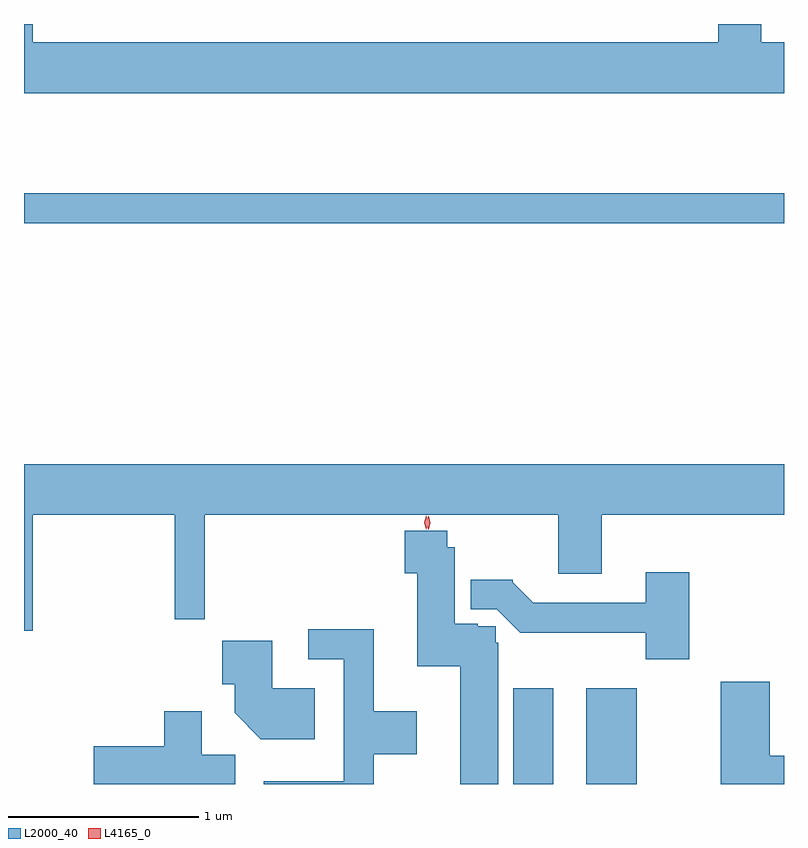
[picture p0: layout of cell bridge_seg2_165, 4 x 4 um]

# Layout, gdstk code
import gdstk
lib = gdstk.Library(unit=1e-6, precision=1e-09)
def R(c, l, rs):  # rectangles x0, y0, x1, y1
    for r in rs: c.add(gdstk.rectangle(r[:2], r[2:], *l))
def P(c, l, *ps):  # polygons
    for p in ps: c.add(gdstk.Polygon(p, *l))
L2000_40 = (2000, 40)
L4165_0 = (4165, 0)

bridge_seg2_165 = lib.new_cell('bridge_seg2_165')
R(bridge_seg2_165, L2000_40, [(817.274,1073.54,817.484,1074.044), (817.656,1073.54,817.924,1074.044), (814.698,1076.491,818.698,1076.649)])
P(bridge_seg2_165, L2000_40, [(818.698,1077.444),(818.579,1077.444),(818.579,1077.54),(818.351,1077.54),(818.351,1077.444),(814.744,1077.444),(814.744,1077.54),(814.698,1077.54),(814.698,1077.176),(818.698,1077.176)],
  [(814.744,1074.956),(815.491,1074.956),(815.491,1074.408),(815.649,1074.408),(815.649,1074.956),(816.607,1074.956),(816.607,1074.957),(817.022,1074.957),(817.022,1074.956),(817.511,1074.956),(817.511,1074.646),(817.739,1074.646),(817.739,1074.956),(818.698,1074.956),(818.698,1075.224),(814.698,1075.224),(814.698,1074.346),(814.744,1074.346)],
  [(817.193,1074.283),(817.18,1074.283),(817.18,1074.371),(817.085,1074.371),(817.085,1074.383),(816.965,1074.383),(816.965,1074.787),(816.926,1074.787),(816.926,1074.874),(816.703,1074.874),(816.703,1074.649),(816.768,1074.649),(816.768,1074.159),(816.993,1074.159),(816.993,1073.54),(817.193,1073.54)],
  [(818.199,1074.654),(817.971,1074.654),(817.971,1074.494),(817.377,1074.494),(817.27,1074.601),(817.27,1074.614),(817.05,1074.614),(817.05,1074.46),(817.185,1074.46),(817.309,1074.336),(817.971,1074.336),(817.971,1074.196),(818.199,1074.196)],
  [(816.539,1073.696),(816.764,1073.696),(816.764,1073.924),(816.539,1073.924),(816.539,1074.354),(816.193,1074.354),(816.193,1074.196),(816.381,1074.196),(816.381,1073.554),(815.961,1073.554),(815.961,1073.54),(816.539,1073.54)],
  [(816.229,1074.044),(816.004,1074.044),(816.004,1074.294),(815.741,1074.294),(815.741,1074.066),(815.806,1074.066),(815.806,1073.914),(815.944,1073.776),(816.229,1073.776)],
  [(818.698,1073.689),(818.624,1073.689),(818.624,1074.079),(818.366,1074.079),(818.366,1073.54),(818.698,1073.54)],
  [(815.809,1073.694),(815.634,1073.694),(815.634,1073.924),(815.436,1073.924),(815.436,1073.739),(815.066,1073.739),(815.066,1073.54),(815.809,1073.54)])
P(bridge_seg2_165, L4165_0, [(816.814,1074.879),(816.814,1074.88),(816.804,1074.916),(816.814,1074.951),(816.814,1074.952),(816.815,1074.951),(816.824,1074.916),(816.815,1074.88)],
  [(816.826,1074.881),(816.826,1074.882),(816.816,1074.915),(816.826,1074.949),(816.826,1074.949),(816.827,1074.949),(816.836,1074.915),(816.827,1074.882)])

lib.write_gds('bridge_seg2_165.gds')
